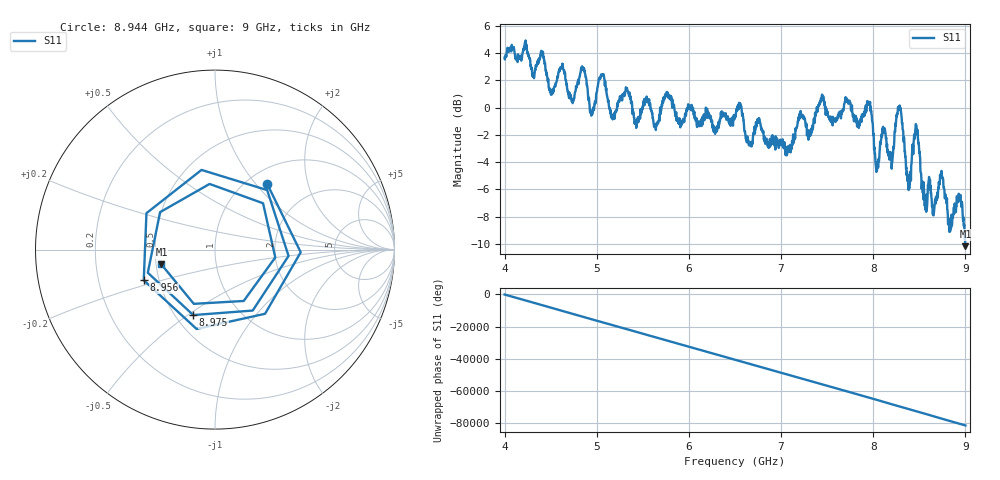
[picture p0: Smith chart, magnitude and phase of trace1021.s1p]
! Created with skrf 1.8.0 (http://scikit-rf.org).
# Hz S RI R 50.0
!freq ReS11 ImS11
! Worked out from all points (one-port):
!   1601 points, 4 GHz to 9 GHz, reference 50 ohm
!   lowest |S11| = -10.2 dB at 9 GHz (marker M1), VSWR 1.90, Z = 26.7 - j4.88 ohm
!   |S11| at or under -10 dB: 8.99868 GHz to end of sweep
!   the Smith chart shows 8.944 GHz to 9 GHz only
!   S11 on the Smith chart (normalised r, x): 8.944 GHz: 1.23, +1.15; 8.956 GHz: 0.41, -0.17; 8.975 GHz: 0.61, -0.52; 9 GHz: 0.53, -0.10
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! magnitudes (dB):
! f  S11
! 4 GHz  3.7
! 4.406 GHz  4.0
! 4.506 GHz  1.1
! 4.625 GHz  3.2
! 4.731 GHz  0.5
! 4.856 GHz  2.8
! 4.947 GHz  -0.3
! 5.053 GHz  2.4
! 5.166 GHz  -0.6
! 5.25 GHz  0.8
! 5.875 GHz  -0.8
! 6.5 GHz  -0.6
! 7.125 GHz  -2.7
! 7.438 GHz  0.7
! 7.75 GHz  0.4
! 7.959 GHz  0.3
! 8.041 GHz  -4.6
! 8.109 GHz  -1.7
! 8.2 GHz  -4.5
! 8.284 GHz  0.0
! 8.375 GHz  -5.2
! 8.466 GHz  -1.3
! 8.562 GHz  -6.9
! 8.838 GHz  -8.8
! 8.944 GHz  -6.6
! 8.956 GHz  -7.3
! 8.975 GHz  -8.3
! 9 GHz  -10.2
